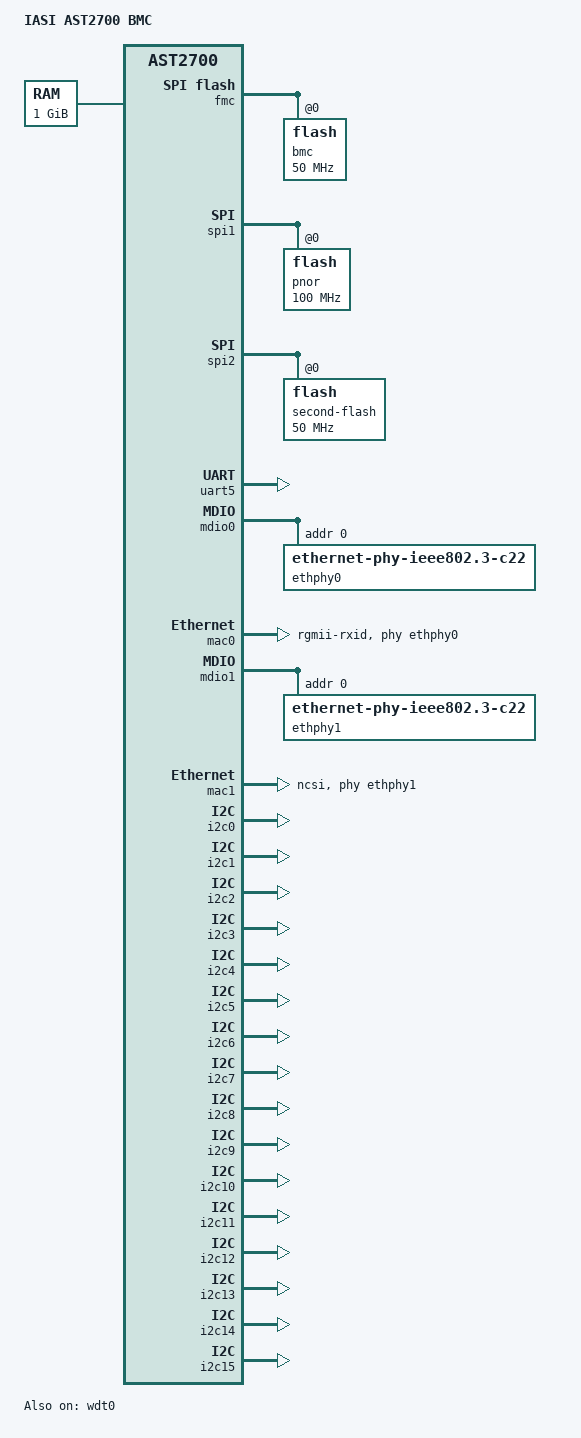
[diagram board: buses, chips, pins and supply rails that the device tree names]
// SPDX-License-Identifier: GPL-2.0-or-later
// Copyright 2024 IASI Technology
// AST2700 IASI-2700 BMC Board Device Tree

/dts-v1/;

#include "aspeed-g7.dtsi"

/ {
	model = "IASI AST2700 BMC";
	compatible = "iasi,ast2700-bmc", "aspeed,ast2700";

	aliases {
		serial4 = &uart5;
	};

	chosen {
		stdout-path = &uart5;
		bootargs = "console=ttyS4,115200n8";
	};

	memory@400000000 {
		device_type = "memory";
		reg = <0x4 0x00000000 0x0 0x40000000>; // 1GB @ 0x400000000
	};

	reserved-memory {
		#address-cells = <2>;
		#size-cells = <2>;
		ranges;

		video_engine_memory: video {
			size = <0x0 0x04000000>; // 64MB
			alignment = <0x0 0x01000000>;
			compatible = "shared-dma-pool";
			reusable;
		};

		gfx_memory: framebuffer {
			size = <0x0 0x01000000>; // 16MB
			alignment = <0x0 0x01000000>;
			compatible = "shared-dma-pool";
			reusable;
		};
	};
};

&fmc {
	status = "okay";
	flash@0 {
		status = "okay";
		m25p,fast-read;
		label = "bmc";
		spi-rx-bus-width = <4>;
		spi-max-frequency = <50000000>;
#include "openbmc-flash-layout-128.dtsi"
	};
};

&spi1 {
	status = "okay";

	flash@0 {
		status = "okay";
		m25p,fast-read;
		label = "pnor";
		spi-rx-bus-width = <4>;
		spi-max-frequency = <100000000>;
	};
};

&spi2 {
	status = "okay";

	flash@0 {
		status = "okay";
		m25p,fast-read;
		label = "second-flash";
		spi-rx-bus-width = <4>;
		spi-max-frequency = <50000000>;
	};
};

// BMC Console: UART5 (ttyS4)
&uart5 {
	status = "okay";
};

// MAC0: RGMII interface
&mdio0 {
	status = "okay";

	ethphy0: ethernet-phy@0 {
		compatible = "ethernet-phy-ieee802.3-c22";
		reg = <0>;
	};
};

&mac0 {
	status = "okay";
	phy-mode = "rgmii-rxid";
	phy-handle = <&ethphy0>;
};

// MAC1: NC-SI interface
&mdio1 {
	status = "okay";

	ethphy1: ethernet-phy@0 {
		compatible = "ethernet-phy-ieee802.3-c22";
		reg = <0>;
	};
};

&mac1 {
	status = "okay";
	phy-mode = "ncsi";
	phy-handle = <&ethphy1>;
};

// I2C Controllers
&i2c0 {
	status = "okay";
};

&i2c1 {
	status = "okay";
};

&i2c2 {
	status = "okay";
};

&i2c3 {
	status = "okay";
};

&i2c4 {
	status = "okay";
};

&i2c5 {
	status = "okay";
};

&i2c6 {
	status = "okay";
};

&i2c7 {
	status = "okay";
};

&i2c8 {
	status = "okay";
};

&i2c9 {
	status = "okay";
};

&i2c10 {
	status = "okay";
};

&i2c11 {
	status = "okay";
};

&i2c12 {
	status = "okay";
};

&i2c13 {
	status = "okay";
};

&i2c14 {
	status = "okay";
};

&i2c15 {
	status = "okay";
};

&wdt0 {
	status = "okay";
};

&gpio0 {
	status = "okay";
};
